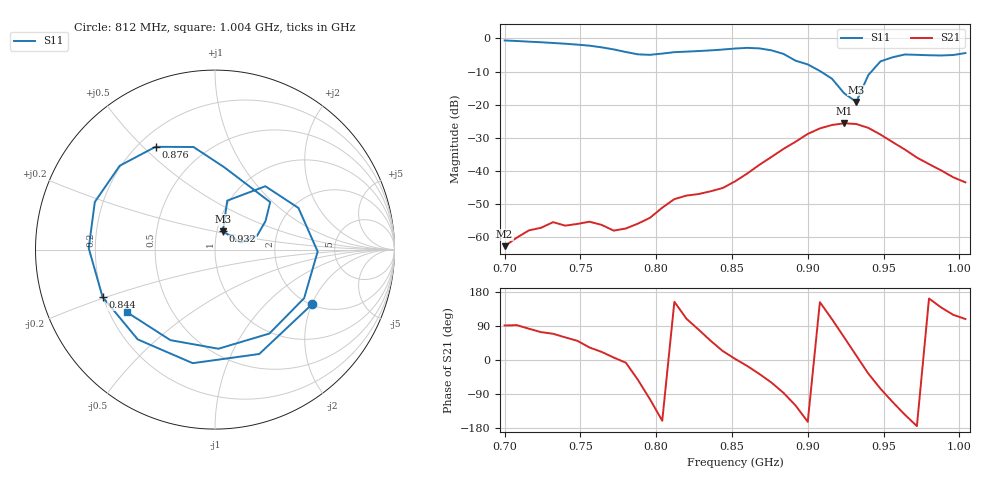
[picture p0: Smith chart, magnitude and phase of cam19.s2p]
# Hz S RI R 50
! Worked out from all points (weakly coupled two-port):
!   39 points, 700 MHz to 1.004 GHz, reference 50 ohm
!   highest |S21| = -25.59 dB at 924 MHz (marker M1); lowest = -62.6 dB at 700 MHz (marker M2)
!   lowest |S11| = -19.1 dB at 932 MHz (marker M3), VSWR 1.25, Z = 53.4 + j11 ohm
!   |S11| at or under -10 dB: 908.6 MHz to 942 MHz (33.35 MHz wide, 3.6 % of centre)
!   S12 and S22 are empty: the file has one direction only
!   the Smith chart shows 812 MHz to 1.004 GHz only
!   S11 on the Smith chart (normalised r, x): 812 MHz: 2.02, -2.00; 844 MHz: 0.20, -0.19; 876 MHz: 0.27, +0.55; 932 MHz: 1.07, +0.22; 1.004 GHz: 0.27, -0.30
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7e8  0.7633 0.5335  -1.42e-05 0.000739  0 0  0 0
7.24e8  0.834 -0.2644  0.000395 0.00134  0 0  0 0
7.4e8  0.4453 -0.7019  0.000761 0.0013  0 0  0 0
7.56e8  -0.1979 -0.7516  0.00145 0.000942  0 0  0 0
7.72e8  -0.6562 -0.1873  0.00126 0.000143  0 0  0 0
7.8e8  -0.5785 0.2328  0.00135 -0.000171  0 0  0 0
7.88e8  -0.2216 0.5306  0.000981 -0.00129  0 0  0 0
7.96e8  0.2635 0.5003  -0.00049 -0.00192  0 0  0 0
8.04e8  0.5737 0.1412  -0.00265 -0.000944  0 0  0 0
8.12e8  0.5404 -0.305  -0.00339 0.00168  0 0  0 0
8.28e8  -0.1241 -0.6328  0.000771 0.00445  0 0  0 0
8.44e8  -0.6267 -0.2632  0.00512 0.00221  0 0  0 0
8.52e8  -0.7036 0.00799  0.00698 0.00039  0 0  0 0
8.76e8  -0.3315 0.5727  0.00832 -0.0141  0 0  0 0
9e8  0.3076 0.2644  -0.0348 -0.0105  0 0  0 0
9.08e8  0.2814 0.1588  -0.0391 0.0203  0 0  0 0
9.24e8  0.1436 0.0395  0.0262 0.0455  0 0  0 0
9.32e8  0.0437 0.1015  0.0502 0.0104  0 0  0 0
9.4e8  0.0684 0.2728  0.0362 -0.0264  0 0  0 0
9.56e8  0.4649 0.2319  -0.00974 -0.0255  0 0  0 0
9.8e8  0.3031 -0.4677  -0.0121 0.00389  0 0  0 0
1.004e9  -0.4884 -0.3502  -0.00211 0.00643  0 0  0 0
